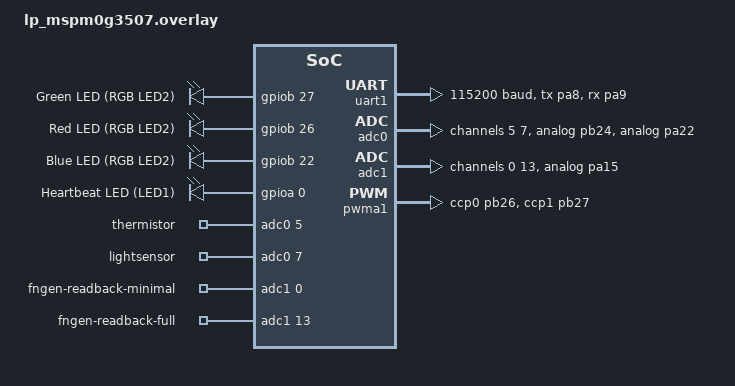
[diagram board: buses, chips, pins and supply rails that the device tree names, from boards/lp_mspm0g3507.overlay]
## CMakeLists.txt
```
#
# SPDX-FileCopyrightText: 2026 Texas Instruments Incorporated
#
# SPDX-License-Identifier: LicenseRef-TI-TFL
#

cmake_minimum_required(VERSION 3.20.0)
find_package(Zephyr REQUIRED HINTS $ENV{ZEPHYR_BASE})
project(gui_composer_demo)

target_sources(app PRIVATE src/main.c)

target_sources_ifdef(CONFIG_SAMPLE_GUI_COMPOSER_DEMO_BLINK app PRIVATE src/blink_led.c)
target_sources_ifdef(CONFIG_SAMPLE_GUI_COMPOSER_DEMO_THERMISTOR app PRIVATE src/thermistor.c)
target_sources_ifdef(CONFIG_SAMPLE_GUI_COMPOSER_DEMO_LIGHTSENSOR app PRIVATE src/lightsensor.c)
target_sources_ifdef(CONFIG_SAMPLE_GUI_COMPOSER_DEMO_FUNCTION_GENERATOR app PRIVATE src/function_generator.c)
target_sources_ifdef(CONFIG_SAMPLE_GUI_COMPOSER_DEMO_TEMPERATURE app PRIVATE src/temperature.c)
```

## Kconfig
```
# SPDX-FileCopyrightText: 2026 Texas Instruments Incorporated
#
# SPDX-License-Identifier: LicenseRef-TI-TFL

mainmenu "GUI Composer demo application"

menuconfig SAMPLE_GUI_COMPOSER_DEMO_BLINK
	bool "Blink LED demo mode"
	help
	  Toggles the green LED at a GUI-adjustable rate. GPIO-only --
	  supported on every board this sample targets.

if SAMPLE_GUI_COMPOSER_DEMO_BLINK

config SAMPLE_GUI_COMPOSER_DEMO_BLINK_DEFAULT_PERIOD_MS
	int "Default blink period (ms)"
	default 500
	help
	  Overridable at runtime via the "blinkTick" RX command
	  (blink_led_set_period()). This is only the value used before the
	  GUI ever sets one.

endif # SAMPLE_GUI_COMPOSER_DEMO_BLINK

menuconfig SAMPLE_GUI_COMPOSER_DEMO_LIGHTSENSOR
	bool "Light sensor demo mode"
	help
	  Reads the on-board photodiode through the ADC and dims/brightens
	  the RGB LED to match ambient light. Disable on boards without
	  this LaunchPad's photodiode circuit.

if SAMPLE_GUI_COMPOSER_DEMO_LIGHTSENSOR

config SAMPLE_GUI_COMPOSER_DEMO_LIGHTSENSOR_SAMPLE_PERIOD_MS
	int "Light sensor ADC sample period (ms)"
	default 20

choice SAMPLE_GUI_COMPOSER_DEMO_LIGHTSENSOR_TIER
	prompt "Light sensor OPA0 implementation"
	default SAMPLE_GUI_COMPOSER_DEMO_LIGHTSENSOR_TIER_MINIMAL

config SAMPLE_GUI_COMPOSER_DEMO_LIGHTSENSOR_TIER_MINIMAL
	bool "Minimal (no amplification, passive/unamplified reading)"
	help
	  Reads the photodiode divider directly with no OPA0 involvement.
	  Reading is unamplified.

config SAMPLE_GUI_COMPOSER_DEMO_LIGHTSENSOR_TIER_FULL
	bool "Full (OPA0-amplified reading via Zephyr opamp driver)"
	depends on DT_HAS_TI_MSPM0_OPA_ENABLED
	help
	  Reads the photodiode signal after OPA0 amplification, driven
	  through Zephyr's opamp driver. Requires a ti,mspm0-opa
	  devicetree binding.

endchoice

endif # SAMPLE_GUI_COMPOSER_DEMO_LIGHTSENSOR

menuconfig SAMPLE_GUI_COMPOSER_DEMO_THERMISTOR
	bool "Thermistor demo mode"
	help
	  Reads the on-board thermistor through the ADC and color-codes the
	  RGB LED by temperature delta from the reading at mode entry.
	  Disable on boards without this LaunchPad's thermistor circuit.

if SAMPLE_GUI_COMPOSER_DEMO_THERMISTOR

config SAMPLE_GUI_COMPOSER_DEMO_THERMISTOR_SAMPLE_PERIOD_MS
	int "Thermistor ADC sample period (ms)"
	default 50

config SAMPLE_GUI_COMPOSER_DEMO_THERMISTOR_DELTA_THRESHOLD_C
	int "Thermistor RGB color-change threshold (degrees C)"
	default 3
	help
	  How far the reading must move from the baseline captured at mode
	  entry, in either direction, before the RGB LED switches from
	  green to red (warmer) or blue (colder).

endif # SAMPLE_GUI_COMPOSER_DEMO_THERMISTOR

menuconfig SAMPLE_GUI_COMPOSER_DEMO_FUNCTION_GENERATOR
	bool "Function generator (DAC) demo mode"
	depends on DT_HAS_TI_MSPM0_DAC_ENABLED
	help
	  Outputs a selectable waveform on the DAC and reports the ADC
	  readback. Hidden on boards whose SoC has no DAC node -- MSPM0's
	  L-series parts have none.

if SAMPLE_GUI_COMPOSER_DEMO_FUNCTION_GENERATOR

config SAMPLE_GUI_COMPOSER_DEMO_FUNCTION_GENERATOR_REPORT_PERIOD_MS
	int "DAC readback report period (ms)"
	default 25
	help
	  How often the ADC readback is sampled and sent to the GUI while
	  the "adcEnable" widget is set.

config SAMPLE_GUI_COMPOSER_DEMO_FUNCTION_GENERATOR_DEFAULT_AMPLITUDE_PCT
	int "Default waveform amplitude (percent of full scale)"
	default 100
	range 0 100
	help
	  Reset to this value every time DAC mode is entered. Overridable
	  at runtime via the "setAmp" RX command.

choice SAMPLE_GUI_COMPOSER_DEMO_FUNCTION_GENERATOR_OPA_TIER
	prompt "OPA1 signal-path implementation"
	default SAMPLE_GUI_COMPOSER_DEMO_FUNCTION_GENERATOR_OPA_TIER_MINIMAL
	help
	  Selects whether the ADC readback reads the DAC's own loopback
	  node directly or OPA1's output after the signal passes through
	  OPA1.

config SAMPLE_GUI_COMPOSER_DEMO_FUNCTION_GENERATOR_OPA_TIER_MINIMAL
	bool "Minimal (DAC-loopback readback, no OPA1 involvement at all)"
	help
	  ADC readback reads the DAC's own loopback node (ADC1 channel 0),
	  not OPA1's output. The setGain/inversion RX commands are not
	  registered.

config SAMPLE_GUI_COMPOSER_DEMO_FUNCTION_GENERATOR_OPA_TIER_FULL
	bool "Full (real OPA1 signal path)"
	depends on DT_HAS_TI_MSPM0_OPA_ENABLED
	help
	  ADC readback reads OPA1's real output (channel 13). Gain is a
	  runtime opamp_set_gain() call. Inversion selects between two
	  overlay variants (functional-mode = "inverting"/"non_inverting")
	  at build time; Zephyr's opamp API has no runtime setter for it.
	  Requires a ti,mspm0-opa devicetree binding.

endchoice

endif # SAMPLE_GUI_COMPOSER_DEMO_FUNCTION_GENERATOR

menuconfig SAMPLE_GUI_COMPOSER_DEMO_TEMPERATURE
	bool "Internal die-temperature demo mode"
	select REGULATOR
	select SYSCON
	help
	  Reads the SoC's internal temperature sensor via ADC and
	  color-codes the RGB LED by the delta from the reading taken at
	  mode entry. Selects REGULATOR for the internal VREF driver and
	  SYSCON to read the factory calibration constant from the
	  CPUSS/FACTORYREGION syscon nodes, disabling the instruction
	  cache for the duration of that read.

if SAMPLE_GUI_COMPOSER_DEMO_TEMPERATURE

config SAMPLE_GUI_COMPOSER_DEMO_TEMPERATURE_SAMPLE_PERIOD_MS
	int "Temperature ADC sample period (ms)"
	default 50

config SAMPLE_GUI_COMPOSER_DEMO_TEMPERATURE_DELTA_THRESHOLD_C
	int "Temperature RGB color-change threshold (degrees C)"
	default 2
	help
	  How far the reading must move from the baseline captured at mode
	  entry, in either direction, before the RGB LED switches from
	  green to red (warmer) or blue (colder).

endif # SAMPLE_GUI_COMPOSER_DEMO_TEMPERATURE

source "Kconfig.zephyr"
```

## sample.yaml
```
sample:
  name: GUI Composer OOB demo
  description: MSPM0 out-of-box GUI Composer demo -- blink, light sensor,
    thermistor, function generator, and internal temperature modes, matching TI's baremetal
    reference experience per board (see README.rst for which modes run
    on which board).
tests:
  sample.gui_composer.demo:
    tags:
      - gui_composer
    platform_allow:
      - lp_mspm0g3507
      - lp_mspm0g3519
      - lp_mspm0l2228
    integration_platforms:
      - lp_mspm0g3507
      - lp_mspm0g3519
      - lp_mspm0l2228
    harness: console
    harness_config:
      type: one_line
      regex:
        - ".*\\[gui_composer_demo\\] boot"
```

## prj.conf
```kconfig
CONFIG_GUI_COMPOSER=y
CONFIG_GUI_COMPOSER_PROTOCOL_MSGPACK=y
CONFIG_GPIO=y
CONFIG_ADC=y
CONFIG_DAC=y
```

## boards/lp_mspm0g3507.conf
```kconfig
CONFIG_SAMPLE_GUI_COMPOSER_DEMO_BLINK=y
CONFIG_SAMPLE_GUI_COMPOSER_DEMO_LIGHTSENSOR=y
CONFIG_SAMPLE_GUI_COMPOSER_DEMO_THERMISTOR=y
CONFIG_SAMPLE_GUI_COMPOSER_DEMO_FUNCTION_GENERATOR=y
CONFIG_PWM=y
```

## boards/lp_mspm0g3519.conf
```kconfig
CONFIG_SAMPLE_GUI_COMPOSER_DEMO_BLINK=y
CONFIG_SAMPLE_GUI_COMPOSER_DEMO_FUNCTION_GENERATOR=y
CONFIG_SAMPLE_GUI_COMPOSER_DEMO_TEMPERATURE=y
```

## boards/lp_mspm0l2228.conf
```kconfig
CONFIG_SAMPLE_GUI_COMPOSER_DEMO_BLINK=y
CONFIG_SAMPLE_GUI_COMPOSER_DEMO_TEMPERATURE=y
CONFIG_CONSOLE=n
CONFIG_UART_CONSOLE=n
```

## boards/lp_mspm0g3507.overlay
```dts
/*
 * SPDX-FileCopyrightText: 2026 Texas Instruments Incorporated
 *
 * SPDX-License-Identifier: LicenseRef-TI-TFL
 */
#include <zephyr/dt-bindings/adc/adc.h>
#include <zephyr/dt-bindings/clock/mspm0_clock.h>

/ {
	chosen {
		zephyr,gui-composer-uart = &uart0;
		zephyr,console = &uart1;
		zephyr,shell-uart = &uart1;
	};

	leds_oob: leds_oob {
		compatible = "gpio-leds";
		led_green: led_green {
			gpios = <&gpiob 27 GPIO_ACTIVE_HIGH>;
			label = "Green LED (RGB LED2)";
		};
		led_red: led_red {
			gpios = <&gpiob 26 GPIO_ACTIVE_HIGH>;
			label = "Red LED (RGB LED2)";
		};
		led_blue: led_blue {
			gpios = <&gpiob 22 GPIO_ACTIVE_HIGH>;
			label = "Blue LED (RGB LED2)";
		};
		led_heartbeat: led_heartbeat {
			gpios = <&gpioa 0 GPIO_ACTIVE_HIGH>;
			label = "Heartbeat LED (LED1)";
		};
	};

	aliases {
		led1 = &led_green;
		led2 = &led_red;
		led3 = &led_blue;
		sw0 = &btn1;
	};
};

&btn1 {
	gpios = <&gpiob 21 (GPIO_ACTIVE_LOW | GPIO_PULL_UP)>;
};

&uart0 {
	rx-fifo-threshold = <0>;
};

&uart1 {
	status = "okay";
	current-speed = <115200>;
	pinctrl-0 = <&uart1_tx_pa8 &uart1_rx_pa9>;
	pinctrl-names = "default";
};

&adc0 {
	status = "okay";
	pinctrl-0 = <&analog_pb24 &analog_pa22>;
	pinctrl-names = "default";
	clocks = <&ckm MSPM0_CLOCK_ULPCLK>;
	max-result-reg = <12>;
	ti,clk-divider = <4>;
	#address-cells = <1>;
	#size-cells = <0>;

	channel@5 {
		reg = <5>;
		zephyr,gain = "ADC_GAIN_1";
		zephyr,reference = "ADC_REF_VDD_1";
		zephyr,acquisition-time = <ADC_ACQ_TIME(ADC_ACQ_TIME_TICKS, 26)>;
		zephyr,resolution = <12>;
	};

	channel@7 {
		reg = <7>;
		zephyr,gain = "ADC_GAIN_1";
		zephyr,reference = "ADC_REF_VDD_1";
		zephyr,acquisition-time = <ADC_ACQ_TIME(ADC_ACQ_TIME_TICKS, 26)>;
		zephyr,resolution = <12>;
	};

};

&adc1 {
	status = "okay";
	pinctrl-0 = <&analog_pa15>;
	pinctrl-names = "default";
	clocks = <&ckm MSPM0_CLOCK_ULPCLK>;
	max-result-reg = <12>;
	ti,clk-divider = <4>;
	#address-cells = <1>;
	#size-cells = <0>;

	channel@0 {
		reg = <0>;
		zephyr,gain = "ADC_GAIN_1";
		zephyr,reference = "ADC_REF_VDD_1";
		zephyr,acquisition-time = <ADC_ACQ_TIME(ADC_ACQ_TIME_TICKS, 26)>;
		zephyr,resolution = <12>;
	};

	channel@d {
		reg = <13>;
		zephyr,gain = "ADC_GAIN_1";
		zephyr,reference = "ADC_REF_VDD_1";
		zephyr,acquisition-time = <ADC_ACQ_TIME(ADC_ACQ_TIME_TICKS, 26)>;
		zephyr,resolution = <12>;
	};
};

&pwma1 {
	status = "okay";
	pinctrl-0 = <&tima1_ccp0_pb26 &tima1_ccp1_pb27>;
	pinctrl-names = "default";
	ti,cc-index = <0 1>;
	ti,pwm-mode = "EDGE_ALIGN";
	ti,period = <512>;
};

/ {
	zephyr,user {
		io-channel-names = "thermistor", "lightsensor",
				    "fngen-readback-minimal", "fngen-readback-full";
		io-channels = <&adc0 5>, <&adc0 7>, <&adc1 0>, <&adc1 13>;
	};
};
```

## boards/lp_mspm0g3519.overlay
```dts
/*
 * SPDX-FileCopyrightText: 2026 Texas Instruments Incorporated
 *
 * SPDX-License-Identifier: LicenseRef-TI-TFL
 */
#include <zephyr/dt-bindings/adc/adc.h>
#include <zephyr/dt-bindings/clock/mspm0_clock.h>

/ {
	chosen {
		zephyr,gui-composer-uart = &uart0;
		zephyr,console = &uart1;
		zephyr,shell-uart = &uart1;
	};

	leds_oob: leds_oob {
		compatible = "gpio-leds";
		led_green: led_green {
			gpios = <&gpiob 27 GPIO_ACTIVE_HIGH>;
			label = "Green LED (RGB LED2)";
		};
		led_red: led_red {
			gpios = <&gpiob 26 GPIO_ACTIVE_HIGH>;
			label = "Red LED (RGB LED2)";
		};
		led_blue: led_blue {
			gpios = <&gpiob 22 GPIO_ACTIVE_HIGH>;
			label = "Blue LED (RGB LED2)";
		};
		led_heartbeat: led_heartbeat {
			gpios = <&gpioa 0 GPIO_ACTIVE_HIGH>;
			label = "Heartbeat LED (LED1)";
		};
	};

	aliases {
		led1 = &led_green;
		led2 = &led_red;
		led3 = &led_blue;
		sw0 = &btn1;
		sw1 = &btn0;
	};
};

&uart0 {
	rx-fifo-threshold = <0>;
};

&uart1 {
	status = "okay";
	current-speed = <115200>;
	pinctrl-0 = <&uart1_tx_pa8 &uart1_rx_pa9>;
	pinctrl-names = "default";
};

&adc0 {
	status = "okay";
	vref = <&vref0>;
	pinctrl-0 = <>;
	pinctrl-names = "default";
	clocks = <&ckm MSPM0_CLOCK_ULPCLK>;
	max-result-reg = <12>;
	ti,clk-divider = <4>;
	#address-cells = <1>;
	#size-cells = <0>;

	channel@b {
		reg = <11>;
		zephyr,gain = "ADC_GAIN_1";
		zephyr,reference = "ADC_REF_INTERNAL";
		zephyr,acquisition-time = <ADC_ACQ_TIME(ADC_ACQ_TIME_TICKS, 26)>;
		zephyr,resolution = <12>;
	};
};

&adc1 {
	status = "okay";
	pinctrl-0 = <&analog_pa15>;
	pinctrl-names = "default";
	clocks = <&ckm MSPM0_CLOCK_ULPCLK>;
	max-result-reg = <12>;
	ti,clk-divider = <4>;
	#address-cells = <1>;
	#size-cells = <0>;

	channel@0 {
		reg = <0>;
		zephyr,gain = "ADC_GAIN_1";
		zephyr,reference = "ADC_REF_VDD_1";
		zephyr,acquisition-time = <ADC_ACQ_TIME(ADC_ACQ_TIME_TICKS, 26)>;
		zephyr,resolution = <12>;
	};
};

/ {
	zephyr,user {
		io-channel-names = "fngen-readback-minimal", "temperature";
		io-channels = <&adc1 0>, <&adc0 11>;
	};
};

/ {
	cpuss_syscon: cpuss-syscon@40400000 {
		compatible = "syscon";
		reg = <0x40400000 0x1400>;
	};

	factoryregion_syscon: factoryregion-syscon@41c40000 {
		compatible = "syscon";
		reg = <0x41c40000 0x100>;
	};
};
```

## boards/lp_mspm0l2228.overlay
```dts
/*
 * SPDX-FileCopyrightText: 2026 Texas Instruments Incorporated
 *
 * SPDX-License-Identifier: LicenseRef-TI-TFL
 */
#include <zephyr/dt-bindings/adc/adc.h>
#include <zephyr/dt-bindings/clock/mspm0_clock.h>

/ {
	chosen {
		zephyr,gui-composer-uart = &uart0;
	};

	leds_oob: leds_oob {
		compatible = "gpio-leds";
		led_blue: led_blue {
			gpios = <&gpiob 23 GPIO_ACTIVE_HIGH>;
			label = "Blue LED (RGB LED2)";
		};
		led_heartbeat: led_heartbeat {
			gpios = <&gpioa 0 GPIO_ACTIVE_HIGH>;
			label = "Heartbeat LED (LED1)";
		};
	};

	aliases {
		led1 = &led0;
		led2 = &led1;
		led3 = &led_blue;
		sw0 = &btn1;
		sw1 = &btn0;
	};
};

&uart0 {
	rx-fifo-threshold = <0>;
};

&rtc {
	status = "okay";
	ti,rtc-x;
};

&adc0 {
	status = "okay";
	vref = <&vref0>;
	pinctrl-0 = <>;
	pinctrl-names = "default";
	clocks = <&ckm MSPM0_CLOCK_ULPCLK>;
	max-result-reg = <4>; /* L-series MEMRES0:3 */
	ti,clk-divider = <4>;
	#address-cells = <1>;
	#size-cells = <0>;

	channel@1d {
		reg = <29>;
		zephyr,gain = "ADC_GAIN_1";
		zephyr,reference = "ADC_REF_INTERNAL";
		zephyr,acquisition-time = <ADC_ACQ_TIME(ADC_ACQ_TIME_TICKS, 26)>;
		zephyr,resolution = <12>;
	};
};

/ {
	zephyr,user {
		io-channel-names = "temperature";
		io-channels = <&adc0 29>;
	};
};

/ {
	cpuss_syscon: cpuss-syscon@40400000 {
		compatible = "syscon";
		reg = <0x40400000 0x1400>;
	};

	factoryregion_syscon: factoryregion-syscon@41c40000 {
		compatible = "syscon";
		reg = <0x41c40000 0x100>;
	};
};
```

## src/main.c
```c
/*
 * SPDX-FileCopyrightText: 2026 Texas Instruments Incorporated
 *
 * SPDX-License-Identifier: LicenseRef-TI-TFL
 */
#include "demo_mode.h"
#if defined(CONFIG_SAMPLE_GUI_COMPOSER_DEMO_BLINK)
#include "blink_led.h"
#endif
#if defined(CONFIG_SAMPLE_GUI_COMPOSER_DEMO_FUNCTION_GENERATOR)
#include "function_generator.h"
#endif
#if defined(CONFIG_SAMPLE_GUI_COMPOSER_DEMO_LIGHTSENSOR)
#include "lightsensor.h"
#endif
#if defined(CONFIG_SAMPLE_GUI_COMPOSER_DEMO_THERMISTOR)
#include "thermistor.h"
#endif
#if defined(CONFIG_SAMPLE_GUI_COMPOSER_DEMO_TEMPERATURE)
#include "temperature.h"
#endif
#include <gui_composer/gui_composer.h>
#include <gui_composer/transport.h>

#include <stdio.h>

#include <zephyr/drivers/gpio.h>
#include <zephyr/kernel.h>
#include <zephyr/sys/util.h>

volatile enum demo_mode current_mode = IDLE;

static const struct gpio_dt_spec led_green = GPIO_DT_SPEC_GET(DT_ALIAS(led1), gpios);
static const struct gpio_dt_spec led_red = GPIO_DT_SPEC_GET(DT_ALIAS(led2), gpios);
static const struct gpio_dt_spec led_blue = GPIO_DT_SPEC_GET(DT_ALIAS(led3), gpios);
static const struct gpio_dt_spec led_heartbeat = GPIO_DT_SPEC_GET(DT_NODELABEL(led_heartbeat), gpios);
static const struct gpio_dt_spec button_s2 = GPIO_DT_SPEC_GET(DT_ALIAS(sw0), gpios);

static struct gpio_callback button_s2_cb;

static void idle_run(void)
{
	while (current_mode == IDLE) {
		gpio_pin_toggle_dt(&led_heartbeat);
		k_sleep(K_MSEC(500));
	}
}

#if defined(CONFIG_SAMPLE_GUI_COMPOSER_DEMO_BLINK)
static void on_blink_enable(gui_rx_value_t value)
{
	current_mode = guicomm_read_bool(value) ? BLINK_LED_MODE : IDLE;
}

static void on_blink_tick(gui_rx_value_t value)
{
	float delay_s = guicomm_read_uint16(value) / 256.0f;

	blink_led_set_period((uint32_t)(delay_s * 1000.0f));
}
#endif

#if defined(CONFIG_SAMPLE_GUI_COMPOSER_DEMO_THERMISTOR)
static void on_therm_enable(gui_rx_value_t value)
{
	current_mode = guicomm_read_bool(value) ? THERMISTOR_MODE : IDLE;
}
#endif

#if defined(CONFIG_SAMPLE_GUI_COMPOSER_DEMO_LIGHTSENSOR)
static void on_light_enable(gui_rx_value_t value)
{
	current_mode = guicomm_read_bool(value) ? LIGHTSENSOR_MODE : IDLE;
}
#endif

#if defined(CONFIG_SAMPLE_GUI_COMPOSER_DEMO_TEMPERATURE)
static void on_temperature_enable(gui_rx_value_t value)
{
	current_mode = guicomm_read_bool(value) ? TEMPERATURE_MODE : IDLE;
}

static void on_temperature_units(gui_rx_value_t value)
{
	temperature_set_units(guicomm_read_bool(value));
}
#endif

#if defined(CONFIG_SAMPLE_GUI_COMPOSER_DEMO_FUNCTION_GENERATOR)
static void on_dac_enable(gui_rx_value_t value)
{
	current_mode = guicomm_read_bool(value) ? FNGEN_MODE : IDLE;
}

static void on_set_type(gui_rx_value_t value)
{
	function_generator_set_wave_type(guicomm_read_uint16(value));
}

static void on_set_freq(gui_rx_value_t value)
{
	function_generator_set_frequency(guicomm_read_uint16(value));
}

static void on_set_amp(gui_rx_value_t value)
{
	function_generator_set_amplitude(guicomm_read_uint16(value));
}

static void on_adc_enable(gui_rx_value_t value)
{
	function_generator_set_adc_enable(guicomm_read_bool(value));
}

#if defined(CONFIG_SAMPLE_GUI_COMPOSER_DEMO_FUNCTION_GENERATOR_OPA_TIER_FULL)
static void on_set_gain(gui_rx_value_t value)
{
	function_generator_set_gain(guicomm_read_uint16(value));
}

static void on_inversion(gui_rx_value_t value)
{
	function_generator_set_inversion(guicomm_read_uint16(value));
}
#endif
#endif

#define BUTTON_S2_DEBOUNCE_MS 50

static const enum demo_mode cycle_modes[] = {
#if defined(CONFIG_SAMPLE_GUI_COMPOSER_DEMO_BLINK)
	BLINK_LED_MODE,
#endif
#if defined(CONFIG_SAMPLE_GUI_COMPOSER_DEMO_LIGHTSENSOR)
	LIGHTSENSOR_MODE,
#endif
#if defined(CONFIG_SAMPLE_GUI_COMPOSER_DEMO_THERMISTOR)
	THERMISTOR_MODE,
#endif
#if defined(CONFIG_SAMPLE_GUI_COMPOSER_DEMO_FUNCTION_GENERATOR)
	FNGEN_MODE,
#endif
#if defined(CONFIG_SAMPLE_GUI_COMPOSER_DEMO_TEMPERATURE)
	TEMPERATURE_MODE,
#endif
};

static void button_s2_pressed(const struct device *dev, struct gpio_callback *cb, uint32_t pins)
{
	ARG_UNUSED(dev);
	ARG_UNUSED(cb);
	ARG_UNUSED(pins);

	static int64_t last_press_ms;
	int64_t now = k_uptime_get();

	if (now - last_press_ms < BUTTON_S2_DEBOUNCE_MS) {
		return;
	}
	last_press_ms = now;

	if (ARRAY_SIZE(cycle_modes) == 0) {
		current_mode = IDLE;
		return;
	}

	if (current_mode == IDLE) {
		current_mode = cycle_modes[0];
		return;
	}

	for (size_t i = 0; i < ARRAY_SIZE(cycle_modes); i++) {
		if (cycle_modes[i] == current_mode) {
			current_mode = (i + 1 < ARRAY_SIZE(cycle_modes)) ? cycle_modes[i + 1] : IDLE;
			return;
		}
	}

	current_mode = cycle_modes[0];
}

static const gui_rx_cmd_t rx_cmds[] = {
#if defined(CONFIG_SAMPLE_GUI_COMPOSER_DEMO_BLINK)
	{"blinkEnable", GUI_RX_BOOL, on_blink_enable},
	{"blinkTick", GUI_RX_NUMBER, on_blink_tick},
#endif
#if defined(CONFIG_SAMPLE_GUI_COMPOSER_DEMO_THERMISTOR)
	{"thermEnable", GUI_RX_BOOL, on_therm_enable},
#endif
#if defined(CONFIG_SAMPLE_GUI_COMPOSER_DEMO_LIGHTSENSOR)
	{"lightEnable", GUI_RX_BOOL, on_light_enable},
#endif
#if defined(CONFIG_SAMPLE_GUI_COMPOSER_DEMO_FUNCTION_GENERATOR)
	{"dacEnable", GUI_RX_BOOL, on_dac_enable},
	{"setType", GUI_RX_NUMBER, on_set_type},
	{"setFreq", GUI_RX_NUMBER, on_set_freq},
	{"setAmp", GUI_RX_NUMBER, on_set_amp},
	{"adcEnable", GUI_RX_BOOL, on_adc_enable},
#if defined(CONFIG_SAMPLE_GUI_COMPOSER_DEMO_FUNCTION_GENERATOR_OPA_TIER_FULL)
	{"setGain", GUI_RX_NUMBER, on_set_gain},
	{"inversion", GUI_RX_NUMBER, on_inversion},
#endif
#endif
#if defined(CONFIG_SAMPLE_GUI_COMPOSER_DEMO_TEMPERATURE)
	{"temperatureEnable", GUI_RX_BOOL, on_temperature_enable},
	{"tUnits", GUI_RX_BOOL, on_temperature_units},
#endif
};

int main(void)
{
	printf("\n[gui_composer_demo] boot\n");

	int ret = gpio_pin_configure_dt(&led_green, GPIO_OUTPUT_INACTIVE);

	if (ret != 0) {
		printf("led_green gpio_pin_configure_dt failed: %d\n", ret);
	}
	ret = gpio_pin_configure_dt(&led_red, GPIO_OUTPUT_INACTIVE);
	if (ret != 0) {
		printf("led_red gpio_pin_configure_dt failed: %d\n", ret);
	}
	ret = gpio_pin_configure_dt(&led_blue, GPIO_OUTPUT_INACTIVE);
	if (ret != 0) {
		printf("led_blue gpio_pin_configure_dt failed: %d\n", ret);
	}
	ret = gpio_pin_configure_dt(&led_heartbeat, GPIO_OUTPUT_INACTIVE);
	if (ret != 0) {
		printf("led_heartbeat gpio_pin_configure_dt failed: %d\n", ret);
	}

	ret = gpio_pin_configure_dt(&button_s2, GPIO_INPUT);
	if (ret != 0) {
		printf("button_s2 gpio_pin_configure_dt failed: %d\n", ret);
	}
	ret = gpio_pin_interrupt_configure_dt(&button_s2, GPIO_INT_EDGE_TO_ACTIVE);
	if (ret != 0) {
		printf("button_s2 gpio_pin_interrupt_configure_dt failed: %d\n", ret);
	}
	gpio_init_callback(&button_s2_cb, button_s2_pressed, BIT(button_s2.pin));
	ret = gpio_add_callback(button_s2.port, &button_s2_cb);
	if (ret != 0) {
		printf("gpio_add_callback failed: %d\n", ret);
	}

	gui_composer_transport_init();
	gui_init();
	gui_init_rx_cmd(rx_cmds, ARRAY_SIZE(rx_cmds));

	while (1) {
		switch (current_mode) {
#if defined(CONFIG_SAMPLE_GUI_COMPOSER_DEMO_BLINK)
		case BLINK_LED_MODE:
			blink_led_run();
			break;
#endif
#if defined(CONFIG_SAMPLE_GUI_COMPOSER_DEMO_LIGHTSENSOR)
		case LIGHTSENSOR_MODE:
			lightsensor_run();
			break;
#endif
#if defined(CONFIG_SAMPLE_GUI_COMPOSER_DEMO_THERMISTOR)
		case THERMISTOR_MODE:
			thermistor_run();
			break;
#endif
#if defined(CONFIG_SAMPLE_GUI_COMPOSER_DEMO_FUNCTION_GENERATOR)
		case FNGEN_MODE:
			function_generator_run();
			break;
#endif
#if defined(CONFIG_SAMPLE_GUI_COMPOSER_DEMO_TEMPERATURE)
		case TEMPERATURE_MODE:
			temperature_run();
			break;
#endif
		case IDLE:
			idle_run();
			break;
		default:
			printf("unsupported mode %d\n", current_mode);
			current_mode = IDLE;
			break;
		}
	}

	return 0;
}
```

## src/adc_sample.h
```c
/*
 * SPDX-FileCopyrightText: 2026 Texas Instruments Incorporated
 *
 * SPDX-License-Identifier: LicenseRef-TI-TFL
 */
#ifndef SAMPLE_GUI_COMPOSER_DEMO_ADC_SAMPLE_H_
#define SAMPLE_GUI_COMPOSER_DEMO_ADC_SAMPLE_H_

#include <zephyr/drivers/adc.h>

static inline int adc_sample_dt(const struct adc_dt_spec *spec, struct adc_sequence *seq)
{
	int ret = adc_sequence_init_dt(spec, seq);

	if (ret == 0) {
		ret = adc_read_dt(spec, seq);
	}

	return ret;
}

#endif /* SAMPLE_GUI_COMPOSER_DEMO_ADC_SAMPLE_H_ */
```

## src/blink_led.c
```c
/*
 * SPDX-FileCopyrightText: 2026 Texas Instruments Incorporated
 *
 * SPDX-License-Identifier: LicenseRef-TI-TFL
 */
#include "blink_led.h"
#include "demo_mode.h"
#include <gui_composer/gui_composer.h>

#include <zephyr/drivers/gpio.h>
#include <zephyr/kernel.h>
#include <zephyr/sys/util.h>

static const struct gpio_dt_spec led_green = GPIO_DT_SPEC_GET(DT_ALIAS(led1), gpios);

static bool led_on;

#define BLINK_PERIOD_MAX_MS 2500

static volatile uint32_t blink_period_ms = CONFIG_SAMPLE_GUI_COMPOSER_DEMO_BLINK_DEFAULT_PERIOD_MS;

void blink_led_set_period(uint32_t period_ms)
{
	if (period_ms > 0) {
		blink_period_ms = MIN(period_ms, BLINK_PERIOD_MAX_MS);
	}
}

void blink_led_run(void)
{
	gpio_pin_configure_dt(&led_green, GPIO_OUTPUT_INACTIVE);
	led_on = false;
	guicomm_send_bool("blinkEnable", 11, true);
	guicomm_send_uint16("blinkTick", 9, (uint16_t)(blink_period_ms * 256 / 1000));

	while (current_mode == BLINK_LED_MODE) {
		k_sleep(K_MSEC(blink_period_ms));
		if (current_mode != BLINK_LED_MODE) {
			break;
		}

		gpio_pin_toggle_dt(&led_green);
		led_on = !led_on;
		guicomm_send_bool("ledOn", 5, led_on);
	}

	gpio_pin_set_dt(&led_green, 0);
	guicomm_send_bool("blinkEnable", 11, false);
}
```

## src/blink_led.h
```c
/*
 * SPDX-FileCopyrightText: 2026 Texas Instruments Incorporated
 *
 * SPDX-License-Identifier: LicenseRef-TI-TFL
 */
#ifndef SAMPLE_GUI_COMPOSER_DEMO_BLINK_LED_H_
#define SAMPLE_GUI_COMPOSER_DEMO_BLINK_LED_H_

#include <stdint.h>

void blink_led_run(void);

void blink_led_set_period(uint32_t period_ms);

#endif /* SAMPLE_GUI_COMPOSER_DEMO_BLINK_LED_H_ */
```

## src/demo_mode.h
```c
/*
 * SPDX-FileCopyrightText: 2026 Texas Instruments Incorporated
 *
 * SPDX-License-Identifier: LicenseRef-TI-TFL
 */
#ifndef SAMPLE_GUI_COMPOSER_DEMO_DEMO_MODE_H_
#define SAMPLE_GUI_COMPOSER_DEMO_DEMO_MODE_H_

enum demo_mode {
	IDLE = 0,
	BLINK_LED_MODE,
	LIGHTSENSOR_MODE,
	THERMISTOR_MODE,
	FNGEN_MODE,
	TEMPERATURE_MODE,
};

extern volatile enum demo_mode current_mode;

#endif /* SAMPLE_GUI_COMPOSER_DEMO_DEMO_MODE_H_ */
```

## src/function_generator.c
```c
/*
 * SPDX-FileCopyrightText: 2026 Texas Instruments Incorporated
 *
 * SPDX-License-Identifier: LicenseRef-TI-TFL
 */
#include "function_generator.h"
#include "adc_sample.h"
#include "demo_mode.h"
#include "waveforms.h"
#include <gui_composer/gui_composer.h>

#include <stdio.h>

#include <zephyr/device.h>
#include <zephyr/drivers/adc.h>
#include <zephyr/drivers/dac.h>
#include <zephyr/kernel.h>
#include <zephyr/sys/util.h>

#if defined(CONFIG_SAMPLE_GUI_COMPOSER_DEMO_FUNCTION_GENERATOR_OPA_TIER_FULL)
#include <zephyr/drivers/opamp.h>
#endif

#define FNGEN_LUT_LEN          512
#define FNGEN_DAC_CHANNEL      0
#define FNGEN_DAC_RESOLUTION   12
#define FNGEN_REPORT_PERIOD_MS CONFIG_SAMPLE_GUI_COMPOSER_DEMO_FUNCTION_GENERATOR_REPORT_PERIOD_MS
#define FNGEN_DEFAULT_AMPLITUDE_PCT CONFIG_SAMPLE_GUI_COMPOSER_DEMO_FUNCTION_GENERATOR_DEFAULT_AMPLITUDE_PCT

static const struct device *dac_dev = DEVICE_DT_GET(DT_NODELABEL(dac0));

#if defined(CONFIG_SAMPLE_GUI_COMPOSER_DEMO_FUNCTION_GENERATOR_OPA_TIER_FULL)
static const struct adc_dt_spec adc_dac_readback =
	ADC_DT_SPEC_GET_BY_NAME(DT_PATH(zephyr_user), fngen_readback_full);
#else
static const struct adc_dt_spec adc_dac_readback =
	ADC_DT_SPEC_GET_BY_NAME(DT_PATH(zephyr_user), fngen_readback_minimal);
#endif

static const uint16_t *const wave_luts[] = {
	gOutputSignalSine512,
	gOutputSignalSquare512,
	gOutputSignalSawtooth512,
	gOutputSignalTriangle512,
};

static const uint32_t period_us[] = {2000, 1000, 500};

static uint8_t wave_type;
static uint16_t amplitude_pct = FNGEN_DEFAULT_AMPLITUDE_PCT;
static uint16_t freq_sel;
static uint16_t sample_index;
static bool dispADC;

static int16_t adc_raw;
static struct adc_sequence sequence = {
	.buffer = &adc_raw,
	.buffer_size = sizeof(adc_raw),
};

void function_generator_set_wave_type(uint16_t type)
{
	if (type < ARRAY_SIZE(wave_luts)) {
		wave_type = (uint8_t)type;
	}
}

void function_generator_set_frequency(uint16_t freq_sel_in)
{
	freq_sel = (freq_sel_in < ARRAY_SIZE(period_us)) ? freq_sel_in : 0;
}

void function_generator_set_amplitude(uint16_t pct)
{
	amplitude_pct = (pct <= 100) ? pct : 100;
}

void function_generator_set_adc_enable(bool enable)
{
	dispADC = enable;
}

#if defined(CONFIG_SAMPLE_GUI_COMPOSER_DEMO_FUNCTION_GENERATOR_OPA_TIER_FULL)
static const struct device *opa1_dev = DEVICE_DT_GET(DT_NODELABEL(opa1));

static enum opamp_gain gain_enum_for(uint16_t gain_step)
{
	static const enum opamp_gain gain_table[] = {
		OPAMP_GAIN_1,  OPAMP_GAIN_2,  OPAMP_GAIN_4,
		OPAMP_GAIN_8,  OPAMP_GAIN_16, OPAMP_GAIN_32,
	};

	return gain_table[gain_step < ARRAY_SIZE(gain_table) ? gain_step : 0];
}

void function_generator_set_gain(uint16_t gain)
{
	int ret = opamp_set_gain(opa1_dev, gain_enum_for(gain));

	if (ret != 0) {
		printf("opamp_set_gain failed: %d\n", ret);
	}
}

void function_generator_set_inversion(uint16_t invert)
{
	ARG_UNUSED(invert);
	printf("inversion is fixed at build time (devicetree functional-mode) under the FULL tier -- rebuild with the other overlay variant to change it\n");
}
#endif

void function_generator_run(void)
{
	static const struct dac_channel_cfg dac_cfg = {
		.channel_id = FNGEN_DAC_CHANNEL,
		.resolution = FNGEN_DAC_RESOLUTION,
		.buffered = true,
		.internal = false,
	};

	int ret = dac_channel_setup(dac_dev, &dac_cfg);

	if (ret != 0) {
		printf("dac_channel_setup failed: %d\n", ret);
	}
	ret = adc_channel_setup_dt(&adc_dac_readback);
	if (ret != 0) {
		printf("adc_channel_setup_dt failed: %d\n", ret);
	}

	wave_type = 0;
	amplitude_pct = FNGEN_DEFAULT_AMPLITUDE_PCT;
	freq_sel = 0;
	sample_index = 0;
	dispADC = false;

	guicomm_send_bool("dacEnable", 9, true);
	guicomm_send_uint16("setAmp", 6, amplitude_pct);
	guicomm_send_uint16("setType", 7, wave_type);
	guicomm_send_uint16("setFreq", 7, freq_sel);
#if defined(CONFIG_SAMPLE_GUI_COMPOSER_DEMO_FUNCTION_GENERATOR_OPA_TIER_FULL)
	guicomm_send_uint16("setGain", 7, 0);
	guicomm_send_uint16("inversion", 9, 0);
#endif

	int64_t next_report_ms = k_uptime_get() + FNGEN_REPORT_PERIOD_MS;

	while (current_mode == FNGEN_MODE) {
		uint16_t sample = (wave_luts[wave_type][sample_index] * amplitude_pct) / 100;

		ret = dac_write_value(dac_dev, FNGEN_DAC_CHANNEL, sample);
		if (ret != 0) {
			printf("dac_write_value failed: %d\n", ret);
		}
		sample_index = (sample_index + 1) % FNGEN_LUT_LEN;

		if (dispADC && k_uptime_get() >= next_report_ms) {
			ret = adc_sample_dt(&adc_dac_readback, &sequence);
			if (ret == 0) {
				guicomm_send_uint16("dacADC", 6, (uint16_t)adc_raw);
			} else {
				printf("adc read failed: %d\n", ret);
			}
			next_report_ms += FNGEN_REPORT_PERIOD_MS;
		}

		k_sleep(K_USEC(period_us[freq_sel]));
	}

	dac_write_value(dac_dev, FNGEN_DAC_CHANNEL, 0);
	guicomm_send_bool("dacEnable", 9, false);
}
```

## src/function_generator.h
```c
/*
 * SPDX-FileCopyrightText: 2026 Texas Instruments Incorporated
 *
 * SPDX-License-Identifier: LicenseRef-TI-TFL
 */
#ifndef SAMPLE_GUI_COMPOSER_DEMO_FUNCTION_GENERATOR_H_
#define SAMPLE_GUI_COMPOSER_DEMO_FUNCTION_GENERATOR_H_

#include <stdbool.h>
#include <stdint.h>

void function_generator_run(void);

void function_generator_set_wave_type(uint16_t type);

void function_generator_set_frequency(uint16_t freq_sel);

void function_generator_set_amplitude(uint16_t pct);

void function_generator_set_adc_enable(bool enable);

#if defined(CONFIG_SAMPLE_GUI_COMPOSER_DEMO_FUNCTION_GENERATOR_OPA_TIER_FULL)
void function_generator_set_gain(uint16_t gain);

void function_generator_set_inversion(uint16_t invert);
#endif

#endif /* SAMPLE_GUI_COMPOSER_DEMO_FUNCTION_GENERATOR_H_ */
```

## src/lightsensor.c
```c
/*
 * SPDX-FileCopyrightText: 2026 Texas Instruments Incorporated
 *
 * SPDX-License-Identifier: LicenseRef-TI-TFL
 */
#include "lightsensor.h"
#include "adc_sample.h"
#include "demo_mode.h"
#include <gui_composer/gui_composer.h>

#include <stdio.h>

#include <zephyr/device.h>
#include <zephyr/drivers/adc.h>
#include <zephyr/drivers/gpio.h>
#include <zephyr/drivers/pinctrl.h>
#include <zephyr/drivers/pwm.h>
#include <zephyr/kernel.h>

PINCTRL_DT_DEFINE(DT_NODELABEL(pwma1));

#define LIGHTSENSOR_SAMPLE_PERIOD_MS CONFIG_SAMPLE_GUI_COMPOSER_DEMO_LIGHTSENSOR_SAMPLE_PERIOD_MS
#define LIGHTSENSOR_PWM_PERIOD 512
#define LIGHTSENSOR_ADC_TO_DUTY_SHIFT 3

static const struct adc_dt_spec adc_light = ADC_DT_SPEC_GET_BY_NAME(DT_PATH(zephyr_user), lightsensor);
static const struct device *pwm_rg = DEVICE_DT_GET(DT_NODELABEL(pwma1));
static const struct gpio_dt_spec led_green = GPIO_DT_SPEC_GET(DT_ALIAS(led1), gpios);
static const struct gpio_dt_spec led_red = GPIO_DT_SPEC_GET(DT_ALIAS(led2), gpios);

static int16_t adc_raw;
static struct adc_sequence sequence = {
	.buffer = &adc_raw,
	.buffer_size = sizeof(adc_raw),
};

void lightsensor_run(void)
{
	/* PB26/PB27 are shared with the RGB LEDs; other modes remux them to GPIO */
	int ret = pinctrl_apply_state(PINCTRL_DT_DEV_CONFIG_GET(DT_NODELABEL(pwma1)),
				      PINCTRL_STATE_DEFAULT);

	if (ret != 0) {
		printf("pinctrl_apply_state failed: %d\n", ret);
	}

	ret = adc_channel_setup_dt(&adc_light);
	if (ret != 0) {
		printf("adc_channel_setup_dt failed: %d\n", ret);
	}

	guicomm_send_bool("lightEnable", 11, true);

	while (current_mode == LIGHTSENSOR_MODE) {
		ret = adc_sample_dt(&adc_light, &sequence);
		if (ret != 0) {
			printf("adc read failed: %d\n", ret);
			k_sleep(K_MSEC(LIGHTSENSOR_SAMPLE_PERIOD_MS));
			continue;
		}

		uint16_t duty_cycle = (uint16_t)adc_raw >> LIGHTSENSOR_ADC_TO_DUTY_SHIFT;

		duty_cycle = duty_cycle*duty_cycle;

		if (duty_cycle >= LIGHTSENSOR_PWM_PERIOD) {
			duty_cycle = LIGHTSENSOR_PWM_PERIOD - 1;
		}

		ret = pwm_set_cycles(pwm_rg, 0, LIGHTSENSOR_PWM_PERIOD, duty_cycle, 0);
		if (ret != 0) {
			printf("pwm_set_cycles (channel 0) failed: %d\n", ret);
		}
		ret = pwm_set_cycles(pwm_rg, 1, LIGHTSENSOR_PWM_PERIOD, duty_cycle, 0);
		if (ret != 0) {
			printf("pwm_set_cycles (channel 1) failed: %d\n", ret);
		}
		guicomm_send_uint16("lsADC", 5, 4095 - (uint16_t)adc_raw);
	}

	ret = pwm_set_cycles(pwm_rg, 0, LIGHTSENSOR_PWM_PERIOD, 0, 0);
	if (ret != 0) {
		printf("pwm_set_cycles (channel 0) teardown failed: %d\n", ret);
	}
	ret = pwm_set_cycles(pwm_rg, 1, LIGHTSENSOR_PWM_PERIOD, 0, 0);
	if (ret != 0) {
		printf("pwm_set_cycles (channel 1) teardown failed: %d\n", ret);
	}

	gpio_pin_configure_dt(&led_red, GPIO_OUTPUT_INACTIVE);
	gpio_pin_configure_dt(&led_green, GPIO_OUTPUT_INACTIVE);

	guicomm_send_bool("lightEnable", 11, false);
}
```

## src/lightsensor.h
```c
/*
 * SPDX-FileCopyrightText: 2026 Texas Instruments Incorporated
 *
 * SPDX-License-Identifier: LicenseRef-TI-TFL
 */
#ifndef SAMPLE_GUI_COMPOSER_DEMO_LIGHTSENSOR_H_
#define SAMPLE_GUI_COMPOSER_DEMO_LIGHTSENSOR_H_

void lightsensor_run(void);

#endif /* SAMPLE_GUI_COMPOSER_DEMO_LIGHTSENSOR_H_ */
```

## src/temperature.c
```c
/*
 * SPDX-FileCopyrightText: 2026 Texas Instruments Incorporated
 *
 * SPDX-License-Identifier: LicenseRef-TI-TFL
 */
#include "temperature.h"

#include "adc_sample.h"
#include "demo_mode.h"
#include <gui_composer/gui_composer.h>

#include <stdio.h>

#include <zephyr/drivers/adc.h>
#include <zephyr/drivers/gpio.h>
#include <zephyr/drivers/syscon.h>
#include <zephyr/kernel.h>

#define TEMP_SAMPLE_PERIOD_MS \
	CONFIG_SAMPLE_GUI_COMPOSER_DEMO_TEMPERATURE_SAMPLE_PERIOD_MS
#define TEMP_DELTA_THRESHOLD_C \
	CONFIG_SAMPLE_GUI_COMPOSER_DEMO_TEMPERATURE_DELTA_THRESHOLD_C
#if defined(CONFIG_SOC_SERIES_MSPM0G) || defined(CONFIG_SOC_SERIES_MSPM0L)
#define TEMP_ADC_BIT_RESOLUTION (1 << 12)
#define TEMP_ADC_VREF_VOLTAGE 1.4f
#define TEMP_TS_COEF_MV_C (-571.42f)
#define TEMP_TS_TRIM_C 25.0f
#else
#error "Define TEMP_ADC/TS calibration constants for this SoC"
#endif
#define TEMP_BUTTON_S1_DEBOUNCE_MS 200

static const struct adc_dt_spec adc_temp =
	ADC_DT_SPEC_GET_BY_NAME(DT_PATH(zephyr_user), temperature);
static const struct gpio_dt_spec led_red =
	GPIO_DT_SPEC_GET(DT_ALIAS(led2), gpios);
static const struct gpio_dt_spec led_green =
	GPIO_DT_SPEC_GET(DT_ALIAS(led1), gpios);
static const struct gpio_dt_spec led_blue =
	GPIO_DT_SPEC_GET(DT_ALIAS(led3), gpios);

static int16_t adc_raw;
static struct adc_sequence sequence = {
	.buffer = &adc_raw,
	.buffer_size = sizeof(adc_raw),
};

static bool temperature_fahrenheit;

void temperature_set_units(bool fahrenheit)
{
	temperature_fahrenheit = fahrenheit;
}

#if DT_NODE_HAS_STATUS(DT_ALIAS(sw1), okay)
#define TEMP_HAS_BUTTON_S1 1

static const struct gpio_dt_spec button_s1 =
	GPIO_DT_SPEC_GET(DT_ALIAS(sw1), gpios);
static struct gpio_callback button_s1_cb;
static int64_t button_s1_last_press_ms;

static void button_s1_pressed(const struct device *dev,
			       struct gpio_callback *cb, uint32_t pins)
{
	int64_t now = k_uptime_get();

	if (now - button_s1_last_press_ms < TEMP_BUTTON_S1_DEBOUNCE_MS) {
		return;
	}
	button_s1_last_press_ms = now;

	temperature_fahrenheit = !temperature_fahrenheit;
	guicomm_send_bool("tUnits", 6, temperature_fahrenheit);
}
#else
#define TEMP_HAS_BUTTON_S1 0
#endif

#if defined(CONFIG_SOC_SERIES_MSPM0G) || defined(CONFIG_SOC_SERIES_MSPM0L)
#define TEMP_FACTORYREGION_TEMP_SENSE0_OFFSET 0x3CUL
#define TEMP_CPUSS_CTL_OFFSET 0x1300UL
#define TEMP_CPUSS_CTL_ICACHE_MASK 0x2UL
#define TEMP_CPUSS_CTL_ICACHE_DISABLE 0x0UL
#else
#error "Define TEMP_CPUSS/FACTORYREGION syscon offsets for this SoC"
#endif

static const struct device *const temp_cpuss_syscon =
	DEVICE_DT_GET(DT_NODELABEL(cpuss_syscon));
static const struct device *const temp_factoryregion_syscon =
	DEVICE_DT_GET(DT_NODELABEL(factoryregion_syscon));

static uint32_t temperature_read_calibration_constant(void)
{
	uint32_t prev_ctl = 0;
	uint32_t cal = 0;
	int ret;

	ret = syscon_read_reg(temp_cpuss_syscon, TEMP_CPUSS_CTL_OFFSET,
			       &prev_ctl);
	if (ret != 0) {
		printf("syscon_read_reg(cpuss) failed: %d\n", ret);
	}

	ret = syscon_update_bits(temp_cpuss_syscon, TEMP_CPUSS_CTL_OFFSET,
				  TEMP_CPUSS_CTL_ICACHE_MASK,
				  TEMP_CPUSS_CTL_ICACHE_DISABLE);
	if (ret != 0) {
		printf("syscon_update_bits(cpuss) failed: %d\n", ret);
	}

	ret = syscon_read_reg(temp_factoryregion_syscon,
			       TEMP_FACTORYREGION_TEMP_SENSE0_OFFSET, &cal);
	if (ret != 0) {
		printf("syscon_read_reg(factoryregion) failed: %d\n", ret);
	}

	ret = syscon_write_reg(temp_cpuss_syscon, TEMP_CPUSS_CTL_OFFSET,
				prev_ctl);
	if (ret != 0) {
		printf("syscon_write_reg(cpuss) failed: %d\n", ret);
	}

	return cal;
}

static float temperature_calc_celsius_full(uint16_t raw_adc)
{
	uint32_t cal = temperature_read_calibration_constant();
	float vtrim = (TEMP_ADC_VREF_VOLTAGE / TEMP_ADC_BIT_RESOLUTION) *
		      (cal - 0.5f);
	float vsample = (TEMP_ADC_VREF_VOLTAGE / TEMP_ADC_BIT_RESOLUTION) *
			(raw_adc - 0.5f);

	return (1.0f / TEMP_TS_COEF_MV_C * 1000.0f) * (vsample - vtrim) +
	       TEMP_TS_TRIM_C;
}

static void set_rgb(bool red, bool green, bool blue)
{
	gpio_pin_set_dt(&led_red, red);
	gpio_pin_set_dt(&led_green, green);
	gpio_pin_set_dt(&led_blue, blue);
}

void temperature_run(void)
{
	int32_t initial_reading = 0;
	bool first_reading = true;

	gpio_pin_configure_dt(&led_red, GPIO_OUTPUT_INACTIVE);
	gpio_pin_configure_dt(&led_green, GPIO_OUTPUT_INACTIVE);
	gpio_pin_configure_dt(&led_blue, GPIO_OUTPUT_INACTIVE);

	int ret = adc_channel_setup_dt(&adc_temp);

	if (ret != 0) {
		printf("adc_channel_setup_dt failed: %d\n", ret);
	}

#if TEMP_HAS_BUTTON_S1
	ret = gpio_pin_configure_dt(&button_s1, GPIO_INPUT);
	if (ret != 0) {
		printf("button_s1 gpio_pin_configure_dt failed: %d\n", ret);
	}
	ret = gpio_pin_interrupt_configure_dt(&button_s1,
					       GPIO_INT_EDGE_TO_ACTIVE);
	if (ret != 0) {
		printf("button_s1 gpio_pin_interrupt_configure_dt failed: %d\n",
		       ret);
	}
	gpio_init_callback(&button_s1_cb, button_s1_pressed,
			   BIT(button_s1.pin));
	ret = gpio_add_callback(button_s1.port, &button_s1_cb);
	if (ret != 0) {
		printf("button_s1 gpio_add_callback failed: %d\n", ret);
	}
#endif

	(void)adc_sample_dt(&adc_temp, &sequence);

	guicomm_send_bool("temperatureEnable", 17, true);
	guicomm_send_int16("tValue", 6, 0);

	while (current_mode == TEMPERATURE_MODE) {
		ret = adc_sample_dt(&adc_temp, &sequence);
		if (ret != 0) {
			printf("adc read failed: %d\n", ret);
			k_sleep(K_MSEC(TEMP_SAMPLE_PERIOD_MS));
			continue;
		}

		int32_t celsius_reading = (int32_t)
			temperature_calc_celsius_full((uint16_t)adc_raw);

		if (first_reading) {
			initial_reading = celsius_reading;
			first_reading = false;
		}

		int32_t sent_reading = celsius_reading;

		if (temperature_fahrenheit) {
			sent_reading = (int32_t)
				(celsius_reading * 9.0f / 5.0f + 32.0f);
		}

		guicomm_send_int16("tValue", 6, (int16_t)sent_reading);

		if (celsius_reading >
		    initial_reading + TEMP_DELTA_THRESHOLD_C) {
			set_rgb(true, false, false);
		} else if (celsius_reading <
			   initial_reading - TEMP_DELTA_THRESHOLD_C) {
			set_rgb(false, false, true);
		} else {
			set_rgb(false, true, false);
		}

		k_sleep(K_MSEC(TEMP_SAMPLE_PERIOD_MS));
	}

	set_rgb(false, false, false);
	guicomm_send_int16("tValue", 6, 0);
	guicomm_send_bool("temperatureEnable", 17, false);

#if TEMP_HAS_BUTTON_S1
	gpio_pin_interrupt_configure_dt(&button_s1, GPIO_INT_DISABLE);
	gpio_remove_callback(button_s1.port, &button_s1_cb);
#endif
}
```

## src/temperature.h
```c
/*
 * SPDX-FileCopyrightText: 2026 Texas Instruments Incorporated
 *
 * SPDX-License-Identifier: LicenseRef-TI-TFL
 */
#ifndef SAMPLE_GUI_COMPOSER_DEMO_TEMPERATURE_H_
#define SAMPLE_GUI_COMPOSER_DEMO_TEMPERATURE_H_

#include <stdbool.h>

void temperature_run(void);
void temperature_set_units(bool fahrenheit);

#endif /* SAMPLE_GUI_COMPOSER_DEMO_TEMPERATURE_H_ */
```

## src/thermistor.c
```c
/*
 * SPDX-FileCopyrightText: 2026 Texas Instruments Incorporated
 *
 * SPDX-License-Identifier: LicenseRef-TI-TFL
 */
#include "thermistor.h"
#include "adc_sample.h"
#include "demo_mode.h"
#include <gui_composer/gui_composer.h>

#include <stdio.h>
#include <math.h>

#include <zephyr/drivers/adc.h>
#include <zephyr/drivers/gpio.h>
#include <zephyr/kernel.h>

#define THERM_VBIAS            3.30f
#define THERM_ADC_BITS         4096.0f
#define THERM_SAMPLE_PERIOD_MS CONFIG_SAMPLE_GUI_COMPOSER_DEMO_THERMISTOR_SAMPLE_PERIOD_MS
#define THERM_DELTA_THRESHOLD  CONFIG_SAMPLE_GUI_COMPOSER_DEMO_THERMISTOR_DELTA_THRESHOLD_C

static const struct adc_dt_spec adc_therm = ADC_DT_SPEC_GET_BY_NAME(DT_PATH(zephyr_user), thermistor);
static const struct gpio_dt_spec led_red = GPIO_DT_SPEC_GET(DT_ALIAS(led2), gpios);
static const struct gpio_dt_spec led_green = GPIO_DT_SPEC_GET(DT_ALIAS(led1), gpios);
static const struct gpio_dt_spec led_blue = GPIO_DT_SPEC_GET(DT_ALIAS(led3), gpios);

static int16_t adc_raw;
static struct adc_sequence sequence = {
	.buffer = &adc_raw,
	.buffer_size = sizeof(adc_raw),
};

static float thermistor_calc_temperature(int raw_adc)
{
	static const float a0 = -4.232811E+02f;
	static const float a1 = 4.728797E+02f;
	static const float a2 = -1.988841E+02f;
	static const float a3 = 4.869521E+01f;
	static const float a4 = -1.158754E+00f;

	float vtemp = (THERM_VBIAS / THERM_ADC_BITS) * (float)raw_adc;
	float temp_c = (a4 * powf(vtemp, 4)) +
		       (a3 * powf(vtemp, 3)) +
		       (a2 * powf(vtemp, 2)) +
		       (a1 * vtemp) +
		       a0;

	return temp_c * 32;
}

static void set_rgb(bool red, bool green, bool blue)
{
	gpio_pin_set_dt(&led_red, red);
	gpio_pin_set_dt(&led_green, green);
	gpio_pin_set_dt(&led_blue, blue);
}

void thermistor_run(void)
{
	int32_t initial_reading = 0;
	bool first_reading = true;

	gpio_pin_configure_dt(&led_red, GPIO_OUTPUT_INACTIVE);
	gpio_pin_configure_dt(&led_green, GPIO_OUTPUT_INACTIVE);
	gpio_pin_configure_dt(&led_blue, GPIO_OUTPUT_INACTIVE);

	int ret = adc_channel_setup_dt(&adc_therm);
	if (ret != 0) {
		printf("adc_channel_setup_dt failed: %d\n", ret);
	}

	/* Discard first conversion: it reads high and skews the relative graph */
	(void)adc_sample_dt(&adc_therm, &sequence);

	guicomm_send_bool("thermEnable", 11, true);

	while (current_mode == THERMISTOR_MODE) {
		ret = adc_sample_dt(&adc_therm, &sequence);
		if (ret != 0) {
			printf("adc read failed: %d\n", ret);
			k_sleep(K_MSEC(THERM_SAMPLE_PERIOD_MS));
			continue;
		}

		uint16_t celsius_reading = (uint16_t)thermistor_calc_temperature(adc_raw);

		if (first_reading) {
			initial_reading = celsius_reading;
			first_reading = false;
		}

		guicomm_send_uint32("thADC", 5, celsius_reading);

		if (celsius_reading - THERM_DELTA_THRESHOLD*32 > initial_reading) {
			set_rgb(true, false, false);
		} else if (celsius_reading < initial_reading - THERM_DELTA_THRESHOLD) {
			set_rgb(false, false, true);
		} else {
			set_rgb(false, true, false);
		}

		k_sleep(K_MSEC(THERM_SAMPLE_PERIOD_MS));
	}

	set_rgb(false, false, false);
	guicomm_send_bool("thermEnable", 11, false);
}
```

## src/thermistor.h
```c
/*
 * SPDX-FileCopyrightText: 2026 Texas Instruments Incorporated
 *
 * SPDX-License-Identifier: LicenseRef-TI-TFL
 */
#ifndef SAMPLE_GUI_COMPOSER_DEMO_THERMISTOR_H_
#define SAMPLE_GUI_COMPOSER_DEMO_THERMISTOR_H_

void thermistor_run(void);

#endif /* SAMPLE_GUI_COMPOSER_DEMO_THERMISTOR_H_ */
```
